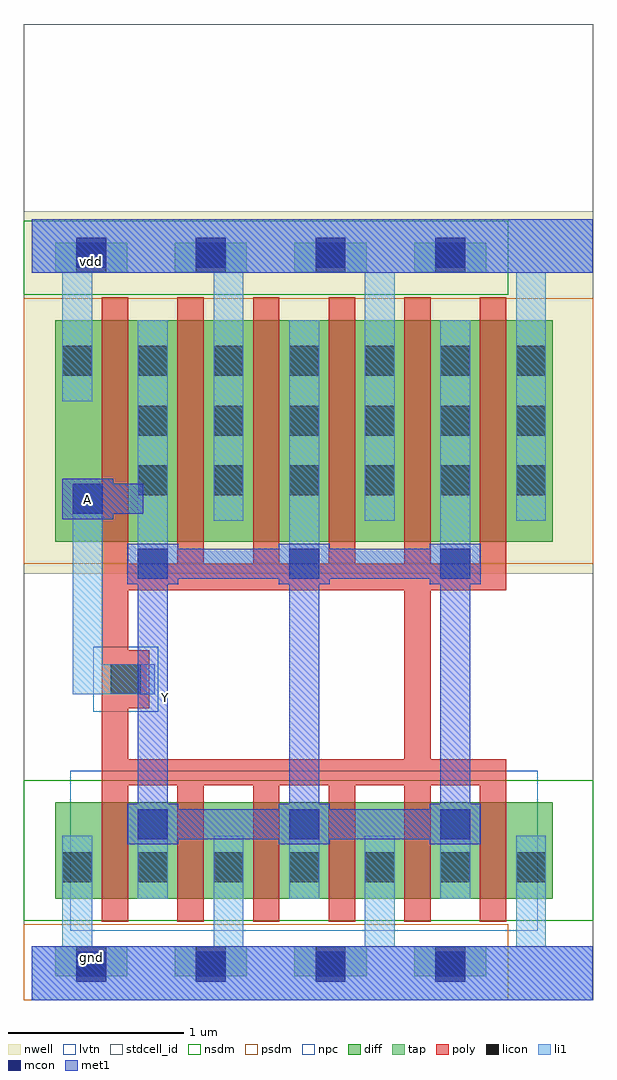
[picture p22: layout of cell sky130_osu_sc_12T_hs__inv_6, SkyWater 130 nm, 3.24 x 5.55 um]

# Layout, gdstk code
import gdstk
lib = gdstk.Library(unit=1e-6, precision=1e-09)
def R(c, l, rs):  # rectangles x0, y0, x1, y1
    for r in rs: c.add(gdstk.rectangle(r[:2], r[2:], *l))
def A(c, l, x, y, w, h, nx, ny, dx, dy):  # array of equal rectangles
    R(c, l, [(x+i*dx, y+j*dy, x+i*dx+w, y+j*dy+h) for i in range(nx) for j in range(ny)])
nwell = (64, 20)
diff = (65, 20)
tap = (65, 44)
poly = (66, 20)
licon = (66, 44)
li1 = (67, 20)
mcon = (67, 44)
met1 = (68, 20)
stdcell_id = (81, 4)
nsdm = (93, 44)
psdm = (94, 20)
npc = (95, 20)
lvtn = (125, 44)

sky130_osu_sc_12t_hs__in = lib.new_cell('sky130_osu_sc_12T_hs__inv_6')
R(sky130_osu_sc_12t_hs__in, nwell, [(-0.045,2.425,3.195,4.485)])
R(sky130_osu_sc_12t_hs__in, diff, [(0.135,0.575,2.965,1.125), (0.135,2.605,2.965,3.865)])
A(sky130_osu_sc_12t_hs__in, tap, 0.135, 0.135, 0.41, 0.17, 4, 2, 0.68, 4)
A(sky130_osu_sc_12t_hs__in, poly, 0.4, 0.445, 0.15, 0.775, 6, 1, 0.43, 0)
A(sky130_osu_sc_12t_hs__in, poly, 0.4, 2.48, 0.15, 1.515, 6, 1, 0.43, 0)
R(sky130_osu_sc_12t_hs__in, poly, [(0.4,1.22,2.7,1.37), (0.4,1.37,0.55,1.66), (2.12,1.37,2.27,2.33), (0.4,1.66,0.67,1.99), (0.4,1.99,0.55,2.33), (0.4,2.33,2.7,2.48)])
A(sky130_osu_sc_12t_hs__in, licon, 0.255, 0.135, 0.17, 0.17, 4, 2, 0.68, 4)
A(sky130_osu_sc_12t_hs__in, licon, 0.175, 0.67, 0.17, 0.17, 7, 2, 0.43, 2.88)
A(sky130_osu_sc_12t_hs__in, licon, 0.605, 2.87, 0.17, 0.17, 6, 2, 0.43, 0.34)
R(sky130_osu_sc_12t_hs__in, licon, [(0.45,1.74,0.62,1.91)])
A(sky130_osu_sc_12t_hs__in, li1, 0.175, 0.305, 0.17, 0.63, 4, 1, 0.86, 0)
A(sky130_osu_sc_12t_hs__in, li1, 0.605, 0.575, 0.17, 0.51, 3, 1, 0.86, 0)
A(sky130_osu_sc_12t_hs__in, li1, 0.605, 2.395, 0.17, 1.47, 3, 1, 0.86, 0)
A(sky130_osu_sc_12t_hs__in, li1, 1.035, 2.725, 0.17, 1.41, 3, 1, 0.86, 0)
R(sky130_osu_sc_12t_hs__in, li1, [(0,0,3.19,0.305), (0.235,1.74,0.7,1.91), (0.235,1.91,0.405,2.935), (0.175,3.405,0.345,4.135), (0,4.135,3.19,4.44)])
A(sky130_osu_sc_12t_hs__in, mcon, 0.255, 0.105, 0.17, 0.17, 4, 2, 0.68, 4.06)
A(sky130_osu_sc_12t_hs__in, mcon, 0.605, 0.915, 0.17, 0.17, 3, 2, 0.86, 1.48)
R(sky130_osu_sc_12t_hs__in, mcon, [(0.235,2.765,0.405,2.935)])
A(sky130_osu_sc_12t_hs__in, met1, 0.545, 0.885, 0.29, 0.03, 3, 2, 0.86, 0.2)
A(sky130_osu_sc_12t_hs__in, met1, 0.605, 1.115, 0.17, 1.25, 3, 1, 0.86, 0)
A(sky130_osu_sc_12t_hs__in, met1, 0.545, 2.365, 0.29, 0.03, 3, 2, 0.86, 0.2)
R(sky130_osu_sc_12t_hs__in, met1, [(0,0,3.19,0.305), (0.545,0.915,2.555,1.085), (0.545,2.395,2.555,2.565), (0.175,2.735,0.465,2.765), (0.175,2.765,0.635,2.935), (0.175,2.935,0.465,2.965), (0,4.135,3.19,4.44)])
R(sky130_osu_sc_12t_hs__in, stdcell_id, [(-0.045,0,3.195,5.55)])
R(sky130_osu_sc_12t_hs__in, nsdm, [(-0.045,0.45,3.195,1.25), (-0.045,4.01,2.71,4.43)])
R(sky130_osu_sc_12t_hs__in, psdm, [(-0.045,0,2.71,0.43), (-0.045,2.48,3.195,3.99)])
R(sky130_osu_sc_12t_hs__in, npc, [(0.35,1.64,0.72,2.01)])
R(sky130_osu_sc_12t_hs__in, lvtn, [(0.22,0.395,2.88,1.305)])
sky130_osu_sc_12t_hs__in.add(gdstk.Label('gnd', (0.34,0.24), layer=68, texttype=16))
sky130_osu_sc_12t_hs__in.add(gdstk.Label('vdd', (0.34,4.2), layer=68, texttype=16))
sky130_osu_sc_12t_hs__in.add(gdstk.Label('A', (0.32,2.845), layer=68, texttype=5))
sky130_osu_sc_12t_hs__in.add(gdstk.Label('Y', (0.76,1.72), layer=68, texttype=5))

lib.write_gds('sky130_osu_sc_12T_hs__inv_6.gds')
